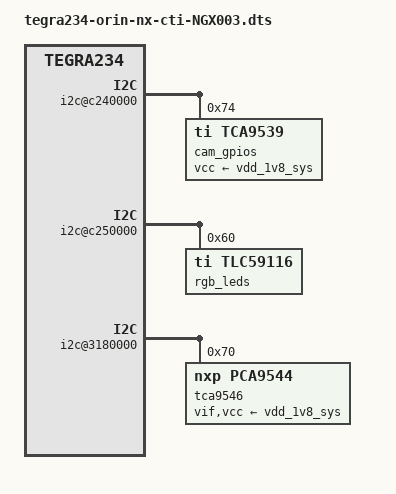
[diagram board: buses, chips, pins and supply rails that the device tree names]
/*
 * Copyright (c) 2023, Connect Tech Inc.  All rights reserved.
 *
 * This program is free software; you can redistribute it and/or modify it
 * under the terms and conditions of the GNU General Public License,
 * version 2, as published by the Free Software Foundation.
 *
 * This program is distributed in the hope it will be useful, but WITHOUT
 * ANY WARRANTY; without even the implied warranty of MERCHANTABILITY or
 * FITNESS FOR A PARTICULAR PURPOSE.  See the GNU General Public License for
 * more details.
 *
 * You should have received a copy of the GNU General Public License
 * along with this program.  If not, see <http://www.gnu.org/licenses/>.
 */

#include "tegra234-orin-nx-cti-base.dtsi"

/{
    nvidia,dtsfilename = "tegra234-orin-nx-cti-NGX003.dts";

    //enable serial connections
    

    pwm_fan_shared_data: pfsd {
        pwm_gpio = <&tegra_main_gpio TEGRA234_MAIN_GPIO(H, 0) GPIO_ACTIVE_LOW>; //this looks to be tach
    };
    spi@3210000{ /* SPI1 in 40 pin conn */
        status = "disabled";
    };

    spi@3230000{ /* SPI3 in 40 pin conn */
        status = "disabled";
    };

    mttcan@c310000{
        status = "disabled";
    };
    /**define tca9539 i2c-0*/
    i2c@c240000 {
        status = "okay";

        cam_gpios:tca9539@74{
            status = "okay";
            compatible="ti,tca9539";
            vcc-supply = <&vdd_1v8_sys>;
            gpio-controller;
            #gpio-cells=<2>;
            reg=<0x74>;
        };
    };

    /** define tlc59116PWR on i2c-1*/
    i2c@c250000 {
        status = "okay";
        rgb_leds:tlc59116@60{
            status = "okay";
            compatible="ti,tlc59116";
            #address-cells = <1>;
            #size-cells = <0>;
            reg=<0x60>;

            red@0 {
                label="red";
                reg = <0x0>;
            };
            green@1 {
                label="green";
                reg = <0x1>;
            };
            blue@2 {
                label="blue";
                reg = <0x2>;
            };

        };
    };

    /** required for i2c pins on P9 header*/
    i2c@3180000 {
        tca9546@70 {
            compatible = "nxp,pca9544";
            reg = <0x70>;
            #address-cells = <1>;
            #size-cells = <0>;
            //skip_mux_detect = "yes";
            vif-supply = <&vdd_1v8_sys>;
            vcc-supply = <&vdd_1v8_sys>;
            vcc_lp = "vcc";
        };
    };


};

